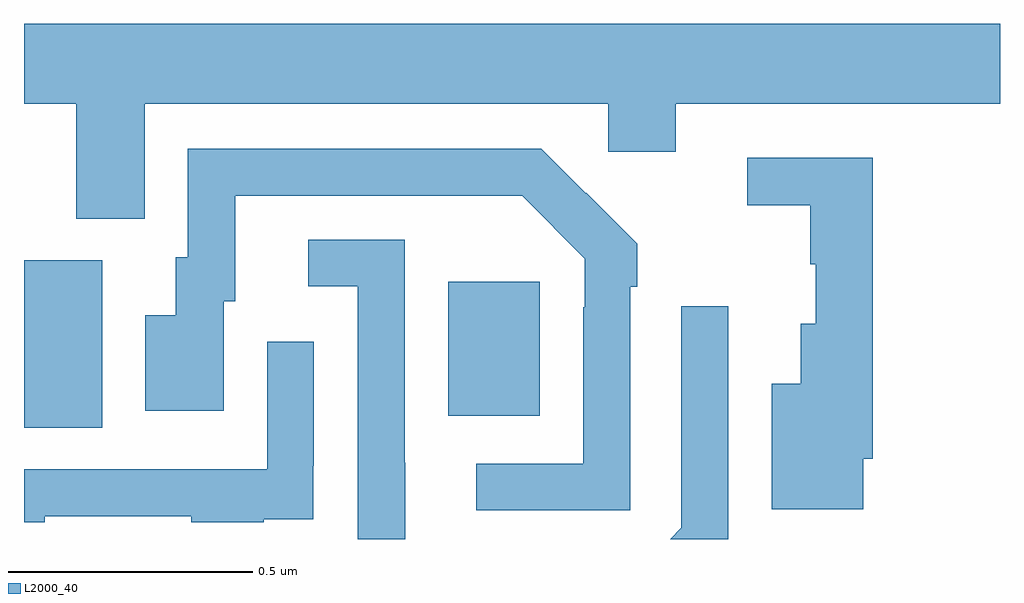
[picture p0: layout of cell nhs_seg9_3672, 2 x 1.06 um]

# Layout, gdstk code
import gdstk
lib = gdstk.Library(unit=1e-6, precision=1e-09)
def R(c, l, rs):  # rectangles x0, y0, x1, y1
    for r in rs: c.add(gdstk.rectangle(r[:2], r[2:], *l))
def P(c, l, *ps):  # polygons
    for p in ps: c.add(gdstk.Polygon(p, *l))
L2000_40 = (2000, 40)

nhs_seg9_3672 = lib.new_cell('nhs_seg9_3672')
R(nhs_seg9_3672, L2000_40, [(156,1223.728,156.16,1224.072), (156.869,1223.753,157.057,1224.028)])
P(nhs_seg9_3672, L2000_40, [(156.247,1224.392),(157.197,1224.392),(157.197,1224.294),(157.336,1224.294),(157.336,1224.392),(158,1224.392),(158,1224.556),(156,1224.556),(156,1224.392),(156.107,1224.392),(156.107,1224.157),(156.247,1224.157)],
  [(157.242,1224.017),(157.257,1224.017),(157.257,1224.105),(157.152,1224.21),(157.151,1224.209),(157.06,1224.3),(156.336,1224.3),(156.336,1224.078),(156.311,1224.078),(156.311,1223.959),(156.248,1223.959),(156.248,1223.763),(156.409,1223.763),(156.409,1223.988),(156.433,1223.988),(156.433,1224.204),(157.021,1224.204),(157.149,1224.075),(157.149,1223.975),(157.146,1223.975),(157.146,1223.655),(156.927,1223.655),(156.927,1223.559),(157.242,1223.559)],
  [(157.72,1223.665),(157.739,1223.665),(157.739,1224.282),(157.482,1224.282),(157.482,1224.184),(157.611,1224.184),(157.611,1224.063),(157.622,1224.063),(157.622,1223.941),(157.592,1223.941),(157.592,1223.818),(157.532,1223.818),(157.532,1223.561),(157.72,1223.561)],
  [(156.781,1223.657),(156.78,1223.657),(156.78,1224.114),(156.582,1224.114),(156.582,1224.018),(156.684,1224.018),(156.684,1223.5),(156.781,1223.5)],
  [(157.443,1223.977),(157.347,1223.977),(157.347,1223.523),(157.324,1223.5),(157.443,1223.5)],
  [(156.043,1223.547),(156.343,1223.547),(156.343,1223.535),(156.491,1223.535),(156.491,1223.541),(156.593,1223.541),(156.593,1223.65),(156.594,1223.65),(156.594,1223.905),(156.498,1223.905),(156.498,1223.643),(156,1223.643),(156,1223.535),(156.043,1223.535)])

lib.write_gds('nhs_seg9_3672.gds')
